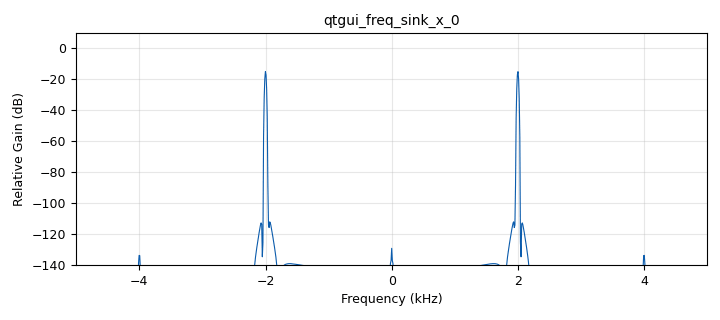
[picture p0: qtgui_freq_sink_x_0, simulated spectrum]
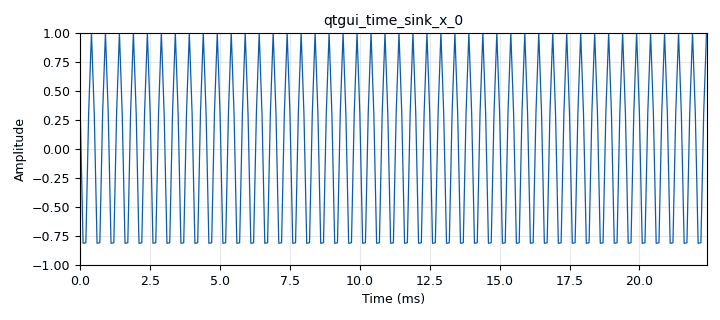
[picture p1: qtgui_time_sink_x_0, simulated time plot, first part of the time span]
options:
  parameters:
    generate_options: qt_gui
    id: Tutorial2
    output_language: python
    title: Tutorial 2 Part 3
  states: {}

blocks:
- name: freq
  id: variable
  parameters:
    value: '2000'
  states: {}
- name: samp_rate
  id: variable_qtgui_range
  parameters:
    orient: Qt.Horizontal
    start: '1000'
    step: '200'
    stop: '40000'
    value: '10000'
  states: {}
- name: Tab2
  id: qtgui_tab_widget
  parameters:
    label0: Time
    label1: Frequency
    num_tabs: '2'
  states: {}
- name: analog_sig_source_x_0
  id: analog_sig_source_x
  parameters:
    amp: '1'
    freq: '2000'
    offset: '0'
    phase: '0'
    samp_rate: '10000'
    type: float
    waveform: analog.GR_COS_WAVE
  states: {}
- name: blocks_throttle_0
  id: blocks_throttle
  parameters:
    samples_per_second: '32000'
    type: float
  states: {}
- name: qtgui_freq_sink_x_0
  id: qtgui_freq_sink_x
  parameters:
    bw: '10000'
    fc: '0'
    fftsize: '1024'
    type: float
    wintype: firdes.WIN_BLACKMAN_hARRIS
  states: {}
- name: qtgui_time_sink_x_0
  id: qtgui_time_sink_x
  parameters:
    size: '1024'
    srate: '10000'
    type: float
  states: {}

connections:
- [analog_sig_source_x_0, '0', blocks_throttle_0, '0']
- [blocks_throttle_0, '0', qtgui_freq_sink_x_0, '0']
- [blocks_throttle_0, '0', qtgui_time_sink_x_0, '0']

metadata:
  file_format: 1
